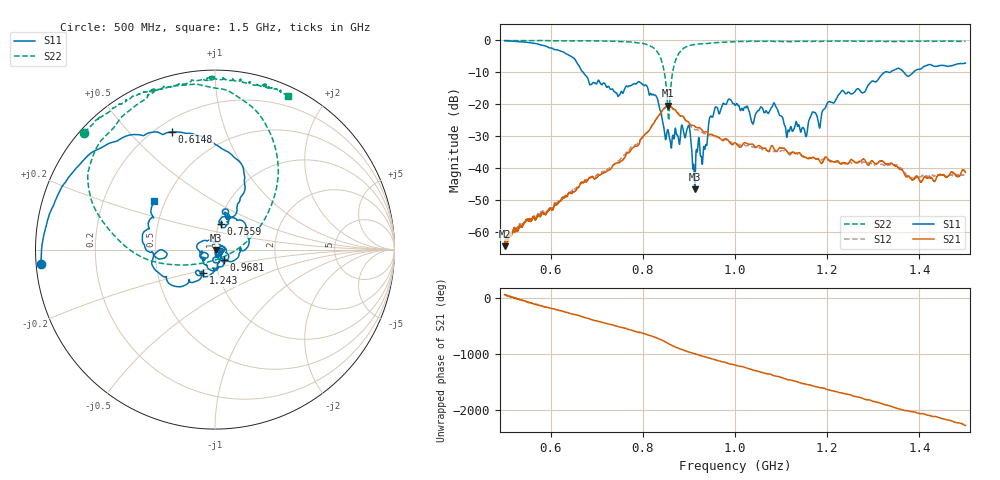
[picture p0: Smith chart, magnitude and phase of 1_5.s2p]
!Agilent Technologies,E8364B,US42250235,A.06.04.32
!Agilent E8364B: A.06.04.32
!Date: Thursday, October 01, 2020 14:42:07
!Correction: S11(Full 2 Port(1,2)) S21(Full 2 Port(1,2)) S12(Full 2 Port(1,2)) S22(Full 2 Port(1,2))
!S2P File: Measurements: S11, S21, S12, S22:
# Hz S  dB  R 50
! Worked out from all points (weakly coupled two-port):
!   2650 points, 500 MHz to 1.5 GHz, reference 50 ohm
!   highest |S21| = -20.63 dB at 854.1 MHz (marker M1); lowest = -64.6 dB at 500 MHz (marker M2)
!   lowest |S11| = -46.7 dB at 912.6 MHz (marker M3), VSWR 1.01, Z = 50.4 - j0.185 ohm
!   |S11| at or under -10 dB: 669.7 MHz to 1.326 GHz (656.2 MHz wide, 65.8 % of centre); 1.331 GHz to 1.338 GHz (7.151 MHz wide, 0.536 % of centre); 1.366 GHz to 1.388 GHz (21.8 MHz wide, 1.58 % of centre)
!   |S22| runs from -25.2 to -0.2 dB; largest |S21 - S12| = 0.019
!   S11 on the Smith chart (normalised r, x): 500 MHz: 0.01, -0.04; 614.8 MHz: 0.26, +0.67; 755.9 MHz: 1.03, +0.30; 968.1 MHz: 1.09, -0.13; 1.243 GHz: 0.85, -0.23; 1.5 GHz: 0.43, +0.29
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5e8  -0.23 -175.3  -64.57 68.0  -63.70 62.0  -0.20 138.2
6.147603e8  -3.12 110.0  -51.27 152.7  -50.76 162.9  -0.25 126.0
6.668554e8  -9.56 63.6  -44.69 34.9  -44.57 46.6  -0.30 120.5
7.559456e8  -16.70 76.2  -37.65 -165.1  -36.49 -149.1  -0.53 105.6
7.933182e8  -13.22 38.0  -32.19 106.3  -31.41 120.4  -0.96 87.4
8.337108e8  -19.60 -39.7  -23.81 -1.3  -24.15 8.3  -4.23 55.5
8.540959e8  -28.08 -24.9  -20.63 -85.1  -20.79 -73.6  -21.30 -15.5
8.722159e8  -29.14 -18.4  -22.25 -160.1  -22.13 -147.1  -5.94 177.5
8.990185e8  -26.76 -44.7  -25.69 120.0  -25.87 129.2  -1.85 151.2
9.126085e8  -46.75 -23.5  -27.09 86.2  -28.03 98.2  -1.43 144.3
9.329936e8  -33.67 -0.3  -28.88 36.0  -29.37 51.1  -1.12 135.3
9.473386e8  -23.80 -9.1  -29.64 3.0  -29.51 18.9  -1.00 127.7
9.681012e8  -22.28 -51.0  -30.91 -47.4  -30.91 -31.8  -0.77 119.4
1.000189e9  -20.49 -120.6  -32.18 -116.2  -32.37 -103.3  -0.55 113.0
1.037939e9  -26.20 -151.1  -32.65 159.4  -33.50 172.5  -0.41 111.8
1.086259e9  -20.10 158.9  -34.49 50.1  -34.96 68.0  -0.50 108.9
1.114572e9  -28.55 106.5  -35.17 -17.2  -35.09 2.7  -0.50 102.4
1.166667e9  -23.05 -68.5  -36.92 -121.6  -37.08 -113.6  -0.48 91.9
1.242544e9  -16.78 -116.3  -38.83 82.6  -38.83 85.5  -0.37 91.1
1.333522e9  -10.13 -150.7  -38.83 -121.6  -39.13 -117.0  -0.42 78.1
1.403737e9  -9.06 -177.9  -44.37 95.2  -42.81 98.5  -0.46 73.1
1.5e9  -7.26 141.6  -41.44 -117.4  -42.43 -120.0  -0.47 64.5
